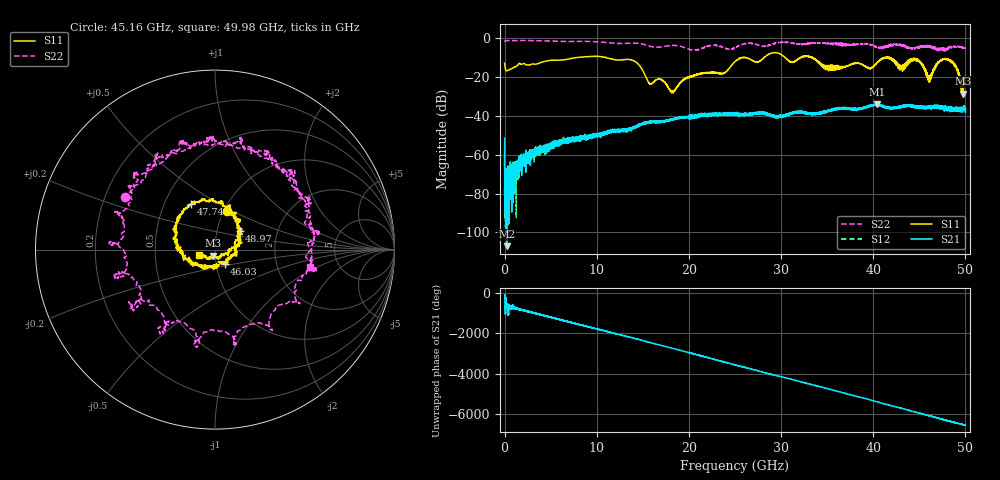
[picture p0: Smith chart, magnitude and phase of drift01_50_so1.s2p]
!Created with skrf (http://scikit-rf.org).
# Hz S RI R 50.0
!freq ReS11 ImS11 ReS21 ImS21 ReS12 ImS12 ReS22 ImS22
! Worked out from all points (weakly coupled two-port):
!   10001 points, 300 kHz to 50 GHz, reference 50 ohm
!   highest |S21| = -34.12 dB at 40.42 GHz (marker M1); lowest = -107.0 dB at 240.3 MHz (marker M2)
!   lowest |S11| = -28.6 dB at 49.74 GHz (marker M3), VSWR 1.08, Z = 48.6 - j3.38 ohm
!   |S11| at or under -10 dB: start of sweep to 8.082 GHz; 10.89 GHz to 25.82 GHz (14.93 GHz wide, 81.3 % of centre); 41.75 GHz to end of sweep (the widest 3 of 20)
!   |S22| runs from -7.1 to -1.4 dB; largest |S21 - S12| = 0.0042
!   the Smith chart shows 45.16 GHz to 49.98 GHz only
!   S11 on the Smith chart (normalised r, x): 45.16 GHz: 1.03, +0.47; 46.03 GHz: 1.10, -0.18; 47.74 GHz: 0.68, +0.38; 48.97 GHz: 1.28, +0.28; 49.98 GHz: 0.84, -0.05
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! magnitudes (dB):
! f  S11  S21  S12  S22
! 300 kHz  -13.1  -51.6  -60.2  -2.1
! 240.3 MHz  -16.9  -107.0  -78.4  -1.4
! 2.93 GHz  -13.6  -60.7  -58.9  -1.4
! 8.335 GHz  -9.9  -51.0  -51.4  -1.8
! 13.8 GHz  -11.4  -46.6  -46.5  -2.8
! 15.74 GHz  -23.5  -43.3  -43.2  -4.3
! 16.67 GHz  -21.2  -43.2  -43.2  -4.9
! 18.24 GHz  -27.3  -41.9  -42.0  -3.9
! 25 GHz  -12.2  -39.3  -39.6  -5.2
! 29.24 GHz  -7.6  -40.2  -40.4  -3.0
! 33.34 GHz  -10.1  -39.8  -39.0  -2.7
! 35.09 GHz  -15.5  -37.8  -37.4  -2.8
! 40.42 GHz  -12.6  -34.1  -34.5  -4.8
! 41.67 GHz  -10.5  -35.8  -36.1  -4.5
! 43.08 GHz  -15.0  -35.1  -35.5  -3.6
! 45.16 GHz  -12.9  -35.2  -35.7  -4.8
! 46.03 GHz  -20.3  -36.1  -35.5  -4.4
! 47.74 GHz  -10.9  -35.7  -36.2  -5.0
! 48.97 GHz  -15.3  -36.9  -36.5  -4.6
! 49.74 GHz  -28.6  -36.3  -36.4  -5.1
! 49.98 GHz  -20.6  -36.3  -36.3  -5.3
! 50 GHz  -21.0  -38.3  -36.1  -5.5
